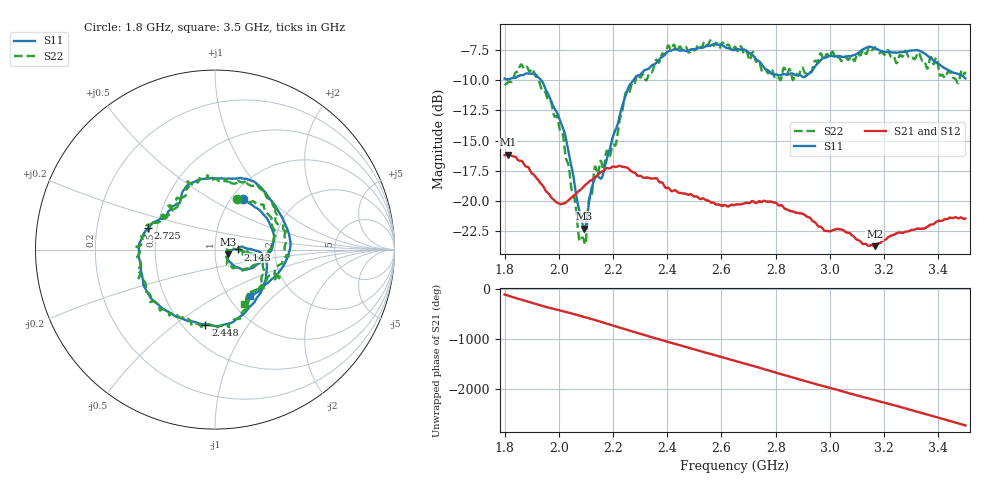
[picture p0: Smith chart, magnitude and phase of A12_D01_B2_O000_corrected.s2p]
! Created with skrf 1.9.0 (http://scikit-rf.org).
# Hz S RI R 50.0
!freq ReS11 ImS11 ReS21 ImS21 ReS12 ImS12 ReS22 ImS22
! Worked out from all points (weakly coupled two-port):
!   1601 points, 1.8 GHz to 3.5 GHz, reference 50 ohm
!   highest |S21| = -16.17 dB at 1.812 GHz (marker M1); lowest = -23.8 dB at 3.165 GHz (marker M2)
!   lowest |S11| = -22.3 dB at 2.093 GHz (marker M3), VSWR 1.17, Z = 57.8 - j2.83 ohm
!   |S11| at or under -10 dB: 1.936 GHz to 2.275 GHz (339.1 MHz wide, 16.1 % of centre)
!   |S22| runs from -23.7 to -6.7 dB; largest |S21 - S12| = 0.0031
!   S11 on the Smith chart (normalised r, x): 1.8 GHz: 1.13, +0.71; 2.143 GHz: 1.29, +0.00; 2.448 GHz: 0.64, -0.65; 2.725 GHz: 0.45, +0.12; 3.5 GHz: 1.26, -0.72
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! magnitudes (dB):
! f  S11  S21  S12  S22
! 1.8 GHz  -9.9  -16.2  -16.2  -10.3
! 1.812 GHz  -9.9  -16.2  -16.2  -10.2
! 1.901 GHz  -9.4  -17.7  -17.7  -9.0
! 1.968 GHz  -11.5  -19.6  -19.6  -11.7
! 2.022 GHz  -14.4  -20.2  -20.2  -15.8
! 2.084 GHz  -21.6  -19.0  -19.0  -23.1
! 2.093 GHz  -22.3  -18.8  -18.9  -23.4
! 2.13 GHz  -18.3  -18.1  -18.1  -17.5
! 2.143 GHz  -17.9  -17.9  -17.9  -17.8
! 2.208 GHz  -14.2  -17.2  -17.2  -15.4
! 2.26 GHz  -10.4  -17.4  -17.4  -11.0
! 2.367 GHz  -8.3  -18.4  -18.3  -8.5
! 2.448 GHz  -7.5  -19.4  -19.4  -7.2
! 2.65 GHz  -7.5  -20.3  -20.3  -7.2
! 2.725 GHz  -8.2  -20.2  -20.2  -8.3
! 2.812 GHz  -9.6  -20.4  -20.3  -9.8
! 2.934 GHz  -9.2  -21.6  -21.6  -9.2
! 3.165 GHz  -7.3  -23.8  -23.8  -7.3
! 3.217 GHz  -7.7  -23.0  -23.0  -7.6
! 3.328 GHz  -7.5  -22.3  -22.3  -7.7
! 3.417 GHz  -8.9  -21.6  -21.6  -9.6
! 3.5 GHz  -9.8  -21.5  -21.5  -9.3
